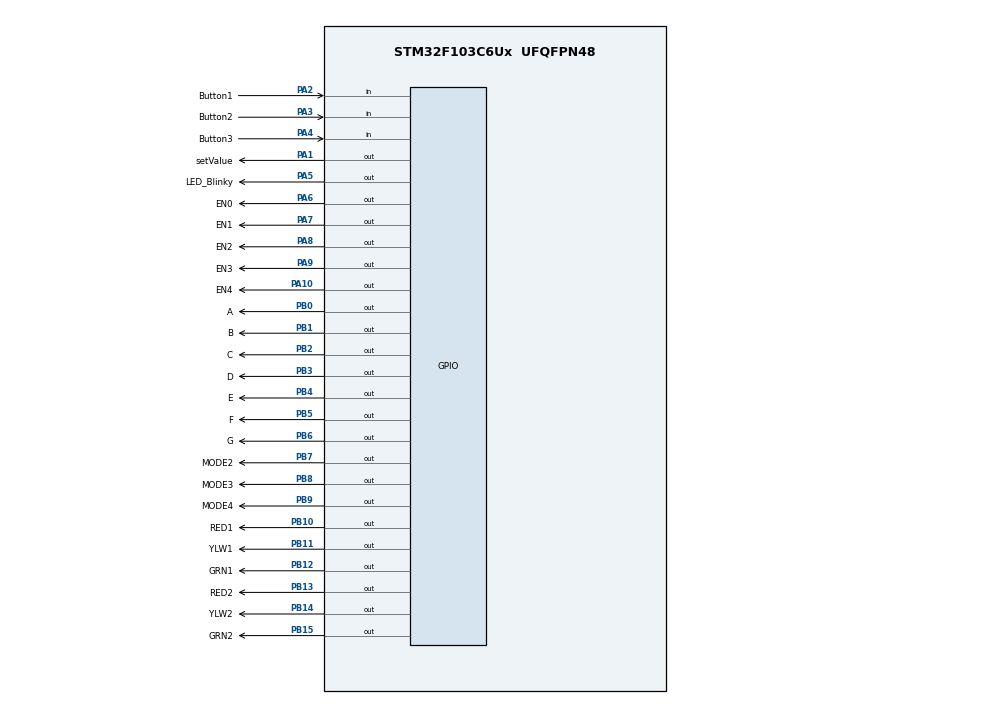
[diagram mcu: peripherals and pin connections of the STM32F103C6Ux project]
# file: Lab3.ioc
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Mcu.Family=STM32F1
Mcu.Name=STM32F103C6Ux
Mcu.Package=UFQFPN48
NVIC.PriorityGroup=NVIC_PRIORITYGROUP_4
NVIC.TIM2_IRQn=true\:0\:0\:false\:false\:true\:true\:true
PA1.GPIO_Label=setValue
PA1.Signal=GPIO_Output
PA10.GPIO_Label=EN4
PA10.Signal=GPIO_Output
PA2.GPIO_Label=Button1
PA2.GPIO_PuPd=GPIO_PULLUP
PA2.Signal=GPIO_Input
PA3.GPIO_Label=Button2
PA3.GPIO_PuPd=GPIO_PULLUP
PA3.Signal=GPIO_Input
PA4.GPIO_Label=Button3
PA4.GPIO_PuPd=GPIO_PULLUP
PA4.Signal=GPIO_Input
PA5.GPIO_Label=LED_Blinky
PA5.Signal=GPIO_Output
PA6.GPIO_Label=EN0
PA6.Signal=GPIO_Output
PA7.GPIO_Label=EN1
PA7.Signal=GPIO_Output
PA8.GPIO_Label=EN2
PA8.Signal=GPIO_Output
PA9.GPIO_Label=EN3
PA9.Signal=GPIO_Output
PB0.GPIO_Label=A
PB0.Signal=GPIO_Output
PB1.GPIO_Label=B
PB1.Signal=GPIO_Output
PB10.GPIO_Label=RED1
PB10.Signal=GPIO_Output
PB11.GPIO_Label=YLW1
PB11.Signal=GPIO_Output
PB12.GPIO_Label=GRN1
PB12.Signal=GPIO_Output
PB13.GPIO_Label=RED2
PB13.Signal=GPIO_Output
PB14.GPIO_Label=YLW2
PB14.Signal=GPIO_Output
PB15.GPIO_Label=GRN2
PB15.Signal=GPIO_Output
PB2.GPIO_Label=C
PB2.Signal=GPIO_Output
PB3.GPIO_Label=D
PB3.Signal=GPIO_Output
PB4.GPIO_Label=E
PB4.Signal=GPIO_Output
PB5.GPIO_Label=F
PB5.Signal=GPIO_Output
PB6.GPIO_Label=G
PB6.Signal=GPIO_Output
PB7.GPIO_Label=MODE2
PB7.Signal=GPIO_Output
PB8.GPIO_Label=MODE3
PB8.Signal=GPIO_Output
PB9.GPIO_Label=MODE4
PB9.Signal=GPIO_Output
ProjectManager.HeapSize=0x200
ProjectManager.StackSize=0x400
ProjectManager.TargetToolchain=STM32CubeIDE
RCC.APB1Freq_Value=8000000
RCC.APB2Freq_Value=8000000
TIM2.Period=9
TIM2.Prescaler=7999
VP_SYS_VS_ND.Mode=No_Debug
VP_TIM2_VS_ClockSourceINT.Mode=Internal
board=custom

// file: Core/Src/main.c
/* USER CODE BEGIN Header */
/**
  ******************************************************************************
  * @file           : main.c
  * @brief          : Main program body
  ******************************************************************************
  * @attention
  *
  * <h2><center>&copy; Copyright (c) 2022 STMicroelectronics.
  * All rights reserved.</center></h2>
  *
  * This software component is licensed by ST under BSD 3-Clause license,
  * the "License"; You may not use this file except in compliance with the
  * License. You may obtain a copy of the License at:
  *                        opensource.org/licenses/BSD-3-Clause
  *
  ******************************************************************************
  */
/* USER CODE END Header */
#include "main.h"

/* USER CODE BEGIN Includes */
#include "software_timer.h"
#include "button.h"
#include "firstLane.h"
#include "secondLane.h"
#include "global.h"
#include "display7SEG.h"
/* USER CODE END Includes */

TIM_HandleTypeDef htim2;

void SystemClock_Config(void);
static void MX_TIM2_Init(void);
static void MX_GPIO_Init(void);

int main(void)
{

  /* MCU Configuration--------------------------------------------------------*/

  /* Reset of all peripherals, Initializes the Flash interface and the Systick. */
  HAL_Init();

  /* Configure the system clock */
  SystemClock_Config();

  /* Initialize all configured peripherals */
  MX_TIM2_Init();
  MX_GPIO_Init();
  /* USER CODE BEGIN 2 */
  HAL_TIM_Base_Start_IT(&htim2);
  /* USER CODE END 2 */

  /* Infinite loop */
  /* USER CODE BEGIN WHILE */

  setTimer3(100);
  setTimer4(20);
  setTimer5(1);
  setTimer6(1);
  setTimer7(1);
  setTimer8(100);
  setTimer9(100);
  while (1)
  {
		led_buffer[0] = firstLaneCounter / 10;
		led_buffer[1] = firstLaneCounter % 10;
		led_buffer[2] = secondLaneCounter / 10;
		led_buffer[3] = secondLaneCounter % 10;
	  if(timer4_flag == 1) {
		  turnOff7SEG();
			if (index_led >= 5) {
			  index_led = 0;
			}
		  update7SEG(index_led++);
			setTimer4(20);
	  }

	  firstLaneTrafficLight();
	  secondLaneTrafficLight();

	  if(timer5_flag == 1)
	  {
		  getKeyInputForButton1();
		  setTimer5(1);
	  }

	  if(timer6_flag == 1)
	  {
		  getKeyInputForButton2();
		  setTimer6(1);
	  }

	  if(timer7_flag == 1)
	  {
		  getKeyInputForButton3();
		  setTimer7(1);
	  }

	  if(timer8_flag == 1)
	  {
		  HAL_GPIO_TogglePin(LED_Blinky_GPIO_Port, LED_Blinky_Pin);
		  setTimer8(100);
	  }

	  if(isButton1Pressed() == 1) {
		  mode++;
		  if(mode > 4)
		  {
			  mode = 1;
		  }
			led_buffer[4] = mode;
	  }

	  if(isButton2Pressed() == 1)
	  {
		  switch(mode){
		  case 2:
		  {
			  HAL_GPIO_TogglePin(MODE2_GPIO_Port, MODE2_Pin);
			  increaseRED++;
			  break;
		  }
		  case 3:
		  {
			  HAL_GPIO_TogglePin(MODE3_GPIO_Port, MODE3_Pin);
			  increaseYLW++;
			  break;
		  }
		  case 4:
		  {
			  HAL_GPIO_TogglePin(MODE4_GPIO_Port, MODE4_Pin);
			  increaseGRN++;
			  break;
		  }
		  default:
			  break;
		  }
	  }

	  if(isButton3Pressed() == 1)
	  {
		  redValue = redValue + increaseRED;
		  ylwValue = ylwValue + increaseYLW;
		  grnValue = grnValue + increaseGRN;
	  }
    /* USER CODE END WHILE */

  }
}

void SystemClock_Config(void)
{
  RCC_OscInitTypeDef RCC_OscInitStruct = {0};
  RCC_ClkInitTypeDef RCC_ClkInitStruct = {0};

  /** Initializes the RCC Oscillators according to the specified parameters
  * in the RCC_OscInitTypeDef structure.
  */
  RCC_OscInitStruct.OscillatorType = RCC_OSCILLATORTYPE_HSI;
  RCC_OscInitStruct.HSIState = RCC_HSI_ON;
  RCC_OscInitStruct.HSICalibrationValue = RCC_HSICALIBRATION_DEFAULT;
  RCC_OscInitStruct.PLL.PLLState = RCC_PLL_NONE;
  if (HAL_RCC_OscConfig(&RCC_OscInitStruct) != HAL_OK)
  {
    Error_Handler();
  }
  /** Initializes the CPU, AHB and APB buses clocks
  */
  RCC_ClkInitStruct.ClockType = RCC_CLOCKTYPE_HCLK|RCC_CLOCKTYPE_SYSCLK
                              |RCC_CLOCKTYPE_PCLK1|RCC_CLOCKTYPE_PCLK2;
  RCC_ClkInitStruct.SYSCLKSource = RCC_SYSCLKSOURCE_HSI;
  RCC_ClkInitStruct.AHBCLKDivider = RCC_SYSCLK_DIV1;
  RCC_ClkInitStruct.APB1CLKDivider = RCC_HCLK_DIV1;
  RCC_ClkInitStruct.APB2CLKDivider = RCC_HCLK_DIV1;

  if (HAL_RCC_ClockConfig(&RCC_ClkInitStruct, FLASH_LATENCY_0) != HAL_OK)
  {
    Error_Handler();
  }
}

static void MX_TIM2_Init(void)
{

  TIM_ClockConfigTypeDef sClockSourceConfig = {0};
  TIM_MasterConfigTypeDef sMasterConfig = {0};

  htim2.Instance = TIM2;
  htim2.Init.Prescaler = 7999;
  htim2.Init.CounterMode = TIM_COUNTERMODE_UP;
  htim2.Init.Period = 9;
  htim2.Init.ClockDivision = TIM_CLOCKDIVISION_DIV1;
  htim2.Init.AutoReloadPreload = TIM_AUTORELOAD_PRELOAD_DISABLE;
  if (HAL_TIM_Base_Init(&htim2) != HAL_OK)
  {
    Error_Handler();
  }
  sClockSourceConfig.ClockSource = TIM_CLOCKSOURCE_INTERNAL;
  if (HAL_TIM_ConfigClockSource(&htim2, &sClockSourceConfig) != HAL_OK)
  {
    Error_Handler();
  }
  sMasterConfig.MasterOutputTrigger = TIM_TRGO_RESET;
  sMasterConfig.MasterSlaveMode = TIM_MASTERSLAVEMODE_DISABLE;
  if (HAL_TIMEx_MasterConfigSynchronization(&htim2, &sMasterConfig) != HAL_OK)
  {
    Error_Handler();
  }

}

static void MX_GPIO_Init(void)
{
  GPIO_InitTypeDef GPIO_InitStruct = {0};

  /* GPIO Ports Clock Enable */
  __HAL_RCC_GPIOA_CLK_ENABLE();
  __HAL_RCC_GPIOB_CLK_ENABLE();

  /*Configure GPIO pin Output Level */
  HAL_GPIO_WritePin(GPIOA, setValue_Pin|LED_Blinky_Pin|EN0_Pin|EN1_Pin
                          |EN2_Pin|EN3_Pin|EN4_Pin, GPIO_PIN_RESET);

  /*Configure GPIO pin Output Level */
  HAL_GPIO_WritePin(GPIOB, A_Pin|B_Pin|C_Pin|RED1_Pin
                          |YLW1_Pin|GRN1_Pin|RED2_Pin|YLW2_Pin
                          |GRN2_Pin|D_Pin|E_Pin|F_Pin
                          |G_Pin|MODE2_Pin|MODE3_Pin|MODE4_Pin, GPIO_PIN_RESET);

  /*Configure GPIO pins : setValue_Pin LED_Blinky_Pin EN0_Pin EN1_Pin
                           EN2_Pin EN3_Pin EN4_Pin */
  GPIO_InitStruct.Pin = setValue_Pin|LED_Blinky_Pin|EN0_Pin|EN1_Pin
                          |EN2_Pin|EN3_Pin|EN4_Pin;
  GPIO_InitStruct.Mode = GPIO_MODE_OUTPUT_PP;
  GPIO_InitStruct.Pull = GPIO_NOPULL;
  GPIO_InitStruct.Speed = GPIO_SPEED_FREQ_LOW;
  HAL_GPIO_Init(GPIOA, &GPIO_InitStruct);

  /*Configure GPIO pins : Button1_Pin Button2_Pin Button3_Pin */
  GPIO_InitStruct.Pin = Button1_Pin|Button2_Pin|Button3_Pin;
  GPIO_InitStruct.Mode = GPIO_MODE_INPUT;
  GPIO_InitStruct.Pull = GPIO_PULLUP;
  HAL_GPIO_Init(GPIOA, &GPIO_InitStruct);

  /*Configure GPIO pins : A_Pin B_Pin C_Pin RED1_Pin
                           YLW1_Pin GRN1_Pin RED2_Pin YLW2_Pin
                           GRN2_Pin D_Pin E_Pin F_Pin
                           G_Pin MODE2_Pin MODE3_Pin MODE4_Pin */
  GPIO_InitStruct.Pin = A_Pin|B_Pin|C_Pin|RED1_Pin
                          |YLW1_Pin|GRN1_Pin|RED2_Pin|YLW2_Pin
                          |GRN2_Pin|D_Pin|E_Pin|F_Pin
                          |G_Pin|MODE2_Pin|MODE3_Pin|MODE4_Pin;
  GPIO_InitStruct.Mode = GPIO_MODE_OUTPUT_PP;
  GPIO_InitStruct.Pull = GPIO_NOPULL;
  GPIO_InitStruct.Speed = GPIO_SPEED_FREQ_LOW;
  HAL_GPIO_Init(GPIOB, &GPIO_InitStruct);

}

/* USER CODE BEGIN 4 */
void HAL_TIM_PeriodElapsedCallback(TIM_HandleTypeDef *htim)
{
	timerRun();
}
/* USER CODE END 4 */

void Error_Handler(void)
{
  __disable_irq();
  while (1)
  {
  }
}

/************************ (C) COPYRIGHT STMicroelectronics *****END OF FILE****/
